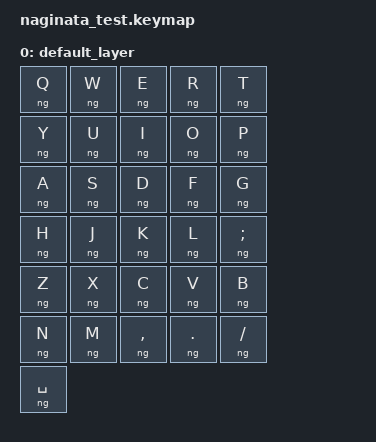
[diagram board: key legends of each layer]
#include <behaviors.dtsi>
#include <dt-bindings/zmk/keys.h>
#include <behaviors/naginata.dtsi>

/ {
    keymap {
        compatible = "zmk,keymap";

        default_layer {
            /* 薙刀式 31キーレイアウト
             * Q    W    E    R    T      Y    U    I    O    P
             * A    S    D    F    G      H    J    K    L    ;
             * Z    X    C    V    B      N    M    ,    .    /
             *                         [Space]
             */
            bindings = <
                &ng Q    &ng W    &ng E    &ng R    &ng T
                &ng Y    &ng U    &ng I    &ng O    &ng P
                &ng A    &ng S    &ng D    &ng F    &ng G
                &ng H    &ng J    &ng K    &ng L    &ng SEMI
                &ng Z    &ng X    &ng C    &ng V    &ng B
                &ng N    &ng M    &ng COMMA &ng DOT  &ng FSLH
                &ng SPACE
            >;
        };
    };
};
